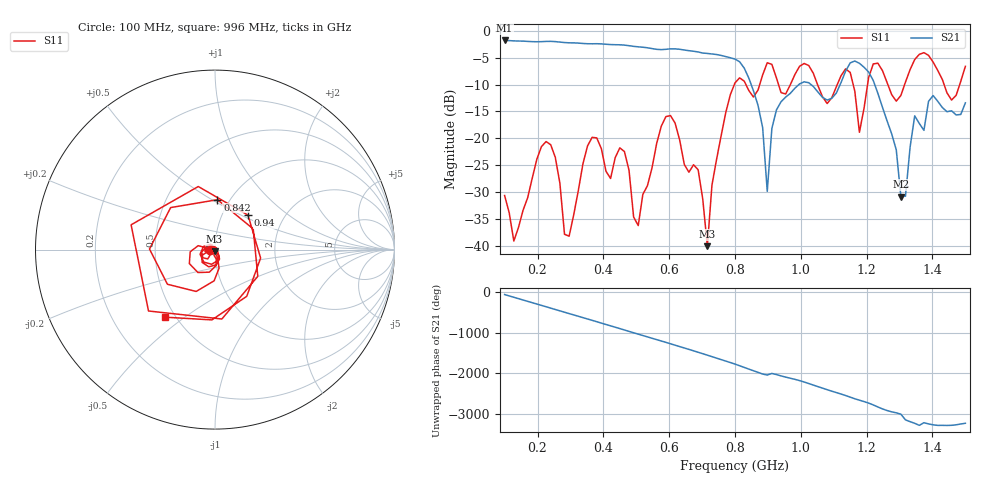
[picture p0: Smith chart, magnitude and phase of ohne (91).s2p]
! NanoVNA-App
! Date: 2025-09-25 14:21:30
! Start: 100MHz Stop: 1,5GHz Points: 101
! S-Parameter data: F S11 S21 S12 S22
# Hz S RI R 50
!  Frequency  S11_Real  S11_Imag  S21_Real  S21_Imag  S12_Real  S12_Imag  S22_Real  S22_Imag
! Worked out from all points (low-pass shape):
!   101 points, 100 MHz to 1.5 GHz, reference 50 ohm
!   highest |S21| = -1.79 dB at 100 MHz (marker M1); lowest = -30.8 dB at 1.304 GHz (marker M2)
!   |S21| within 3 dB of the highest: start of sweep to 771.8 MHz
!   lowest |S11| = -40.1 dB at 716 MHz (marker M3), VSWR 1.02, Z = 49.7 - j0.953 ohm
!   |S11| at or under -10 dB: start of sweep to 798 MHz; 833.1 MHz to 875.1 MHz (41.94 MHz wide, 4.91 % of centre); 1.051 GHz to 1.111 GHz (59.98 MHz wide, 5.55 % of centre) (the widest 3 of 7)
!   S12 and S22 are empty: the file has one direction only
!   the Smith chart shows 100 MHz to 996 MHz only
!   S11 on the Smith chart (normalised r, x): 100 MHz: 0.94, -0.01; 842 MHz: 0.88, +0.53; 940 MHz: 1.32, +0.55; 996 MHz: 0.44, -0.42
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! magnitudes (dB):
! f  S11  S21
! 100 MHz  -30.6  -1.8
! 128 MHz  -39.1  -1.9
! 226 MHz  -20.6  -2.0
! 296 MHz  -38.2  -2.2
! 338 MHz  -24.7  -2.4
! 464 MHz  -22.5  -2.7
! 506 MHz  -36.2  -3.0
! 576 MHz  -17.7  -3.5
! 688 MHz  -25.9  -3.9
! 716 MHz  -40.1  -4.2
! 800 MHz  -9.7  -5.3
! 842 MHz  -11.1  -8.8
! 898 MHz  -5.9  -29.9
! 940 MHz  -11.5  -13.2
! 996 MHz  -6.6  -9.9
! 1.038 GHz  -7.9  -10.4
! 1.178 GHz  -18.9  -6.0
! 1.22 GHz  -6.2  -9.2
! 1.276 GHz  -11.9  -19.2
! 1.304 GHz  -12.0  -30.8
! 1.346 GHz  -5.3  -15.8
! 1.5 GHz  -6.6  -13.4
